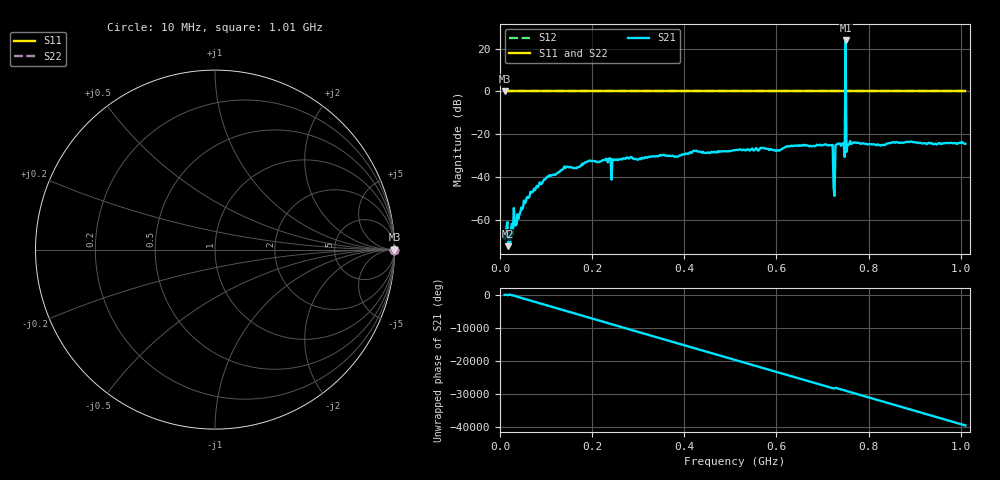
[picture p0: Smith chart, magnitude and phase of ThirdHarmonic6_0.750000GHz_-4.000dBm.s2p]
! 8/16/2025 1:04:39 AM
! C:\ANRITSUVNA\TEMP\TEMP.S2P
! CHANNEL.1
! TR.MEASUREMENT
! RAW.DATA
! RF.CORRECTION.OFF
! AVERAGING.OFF
! IF.BANDWIDTH: 5KHZ
! SWEEPTYPE:  FREQ.SWEEP(Linear)
! Reference Plane Port Info
! PORT:  PORT1  PORT2
! DISTANCE:  0  m  0  m
! TIME:  0  s  0  s
! PHASE.OFFSET:  0  deg.  0  deg.
! LOSS:  0  dB  0  dB
! REF.LOSS:  0  dB  0  dB
! REF.FREQ:  0  Hz  0  Hz
! Power Info
! POWER:  -20  dBm  -20  dBm
! EFF.POWER:  -20  dBm  -20  dBm
! SOURCE.ATTEN:  0  dB  0  dB
! TEST.ATTEN:  0  dB  0  dB
# GHZ S RI R 50.0
! FREQ.GHZ  S11RE  S11IM  S21RE  S21IM  S12RE  S12IM  S22RE  S22IM
!; PortSelection: Port_12
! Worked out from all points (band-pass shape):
!   501 points, 10 MHz to 1.01 GHz, reference 50 ohm
!   highest |S21| = 23.77 dB at 750 MHz (marker M1); lowest = -72.3 dB at 18 MHz (marker M2)
!   |S21| within 3 dB of the highest: 749.8897 MHz to 750.1152 MHz (225.5 kHz wide, 0.0301 % of centre)
!   lowest |S11| = 0.0 dB at 10 MHz (marker M3)
!   |S11| at or under -10 dB: nowhere
!   |S22| runs from 0.0 to 0.0 dB; largest |S21 - S12| = 16
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0.01  1 0  0.000289 -0.000201  1 0  1 0
0.018  1 0  1.2e-06 -0.000242  1 0  1 0
0.022  1 0  0.000235 0.0001  1 0  1 0
0.028  1 0  -0.000278 0.000343  1 0  1 0
0.056  1 0  -0.000672 0.00257  1 0  1 0
0.082  1 0  -0.00293 0.00498  1 0  1 0
0.142  1 0  -0.0151 -0.00588  1 0  1 0
0.178  1 0  -0.0201 -0.0032  1 0  1 0
0.344  1 0  0.0296 -0.0063  1 0  1 0
0.51  1 0  -0.0396 0.0142  1 0  1 0
0.678  1 0  -0.0227 -0.0472  1 0  1 0
0.718  1 0  0.0159 0.0523  1 0  1 0
0.722  1 0  0.00222 -0.056  1 0  1 0
0.728  1 0  0.0447 0.0317  1 0  1 0
0.732  1 0  -0.0346 -0.047  1 0  1 0
0.744  1 0  -0.0161 0.0568  1 0  1 0
0.746  1 0  0.0566 0.0258  1 0  1 0
0.75  1 0  -13.63 -7.232  1 0  1 0
0.754  1 0  0.0256 0.0495  1 0  1 0
0.756  1 0  0.0545 -0.0142  1 0  1 0
0.844  1 0  0.0437 0.0441  1 0  1 0
1.01  1 0  -0.057 -0.0164  1 0  1 0
